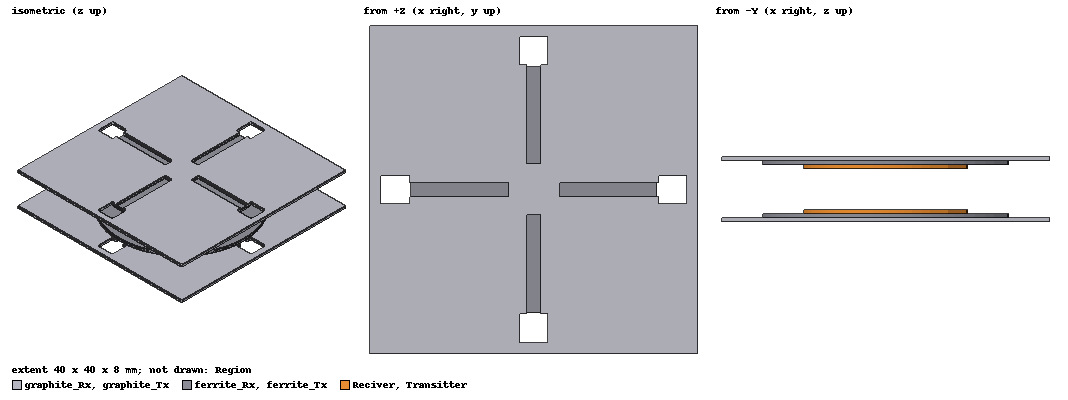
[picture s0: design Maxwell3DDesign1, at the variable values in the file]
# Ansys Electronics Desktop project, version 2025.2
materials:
  vacuum: permittivity=1
  aluminum: permeability=1.000021 conductivity=38000000
  copper: permeability=0.999991 conductivity=58000000
  ferrite: permittivity=12 permeability=1000 conductivity=0.01
  graphite: conductivity=70000

design Maxwell3DDesign1 (Maxwell 3D, AC Magnetic, model units mm)
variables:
  dist_offset = 2.5mm
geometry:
  Reciver [copper] = cylinder(axis=Z, base_centre=(0mm, 0mm, dist_offset), radius=10mm, height=0.5mm)
  Cylinder2 = cylinder(axis=Z, base_centre=(0mm, 0mm, dist_offset), radius=4mm, height=0.5mm)
  Reciver.subtract(Cylinder2)
  Cylinder1_Section1 = Reciver.section(plane=YZ)
  Cylinder1_Section1.separate_bodies()
  Cylinder1_Section1_1 = Cylinder1_Section1.duplicate_mirror(point=(0mm, 0mm, 0mm), normal=(0mm, 0mm, -1mm))
  ferrite_Rx [ferrite] = cylinder(axis=Z, base_centre=(0mm, 0mm, dist_offset + 0.5mm), radius=15mm, height=0.5mm)
  graphite_Rx [graphite] = box(corner=(-20mm, -20mm, dist_offset +1mm), size=(40mm, 40mm, 0.5mm))
  Region [vacuum] = region(percentage_offset=200 on all sides)
  Box1 = box(corner=(15.2mm, -1.75mm, 3.5mm), size=(3.5mm, 3.5mm, 0.5mm))
  graphite_Rx.subtract(Box1)
  Box2 = box(corner=(-18.6mm, -1.75mm, 3.5mm), size=(3.5mm, 3.5mm, 0.5mm))
  graphite_Rx.subtract(Box2)
  Box3 = box(corner=(-1.75mm, 15.2mm, 3.5mm), size=(3.5mm, 3.5mm, 0.5mm))
  graphite_Rx.subtract(Box3)
  Box4 = box(corner=(-1.75mm, -18.6mm, 3.5mm), size=(3.5mm, 3.5mm, 0.5mm))
  graphite_Rx.subtract(Box4)
  Box5 = box(corner=(15.2mm, (-1.75/2) mm, 3.5mm), size=(-12mm, 1.75mm, 0.5mm))
  Box6 = box(corner=(-15.1mm, (-1.75/2) mm, 3.5mm), size=(12mm, 1.75mm, 0.5mm))
  Box7 = box(corner=((-1.75/2) mm, 15.2mm, 3.5mm), size=(1.75mm, -12mm, 0.5mm))
  Box8 = box(corner=((-1.75/2) mm, -15.1mm, 3.5mm), size=(1.75mm, 12mm, 0.5mm))
  graphite_Rx.subtract(Box5..Box8)
  Transitter [copper] = Reciver.duplicate_mirror(point=(0mm, 0mm, 0mm), normal=(0mm, 0mm, -1mm))
  ferrite_Tx [ferrite] = ferrite_Rx.duplicate_mirror(point=(0mm, 0mm, 0mm), normal=(0mm, 0mm, -1mm))
  graphite_Tx [graphite] = graphite_Rx.duplicate_mirror(point=(0mm, 0mm, 0mm), normal=(0mm, 0mm, -1mm))
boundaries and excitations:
  CoilTerminal_1: Coil Terminal Objects=Cylinder1_Section1 Conductor_number=100 Winding=Winding1 Point_out_of_terminal=false
  CoilTerminal_2: Coil Terminal Objects=Cylinder1_Section1_1 Conductor_number=100 Winding=Winding2 Point_out_of_terminal=false
  Winding1: Winding Group Type=Current IsSolid=false Current=1A ParallelBranchesNum=1 Phase=0deg
  Winding2: Winding Group Type=Current IsSolid=false Current=1A ParallelBranchesNum=1 Phase=90deg
  eddy effects on: graphite_Rx
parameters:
  Matrix1: Matrix Winding1, Winding2:
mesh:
  Length1: LengthBased RefineInside Objects=[Reciver, ferrite_Rx, graphite_Rx, Cylinder1_Section1, Cylinder1_Section1_1] NumMaxElem=6000 MaxLength=1mm
  Length2: LengthBased RefineInside Objects=[Transitter, ferrite_Tx, graphite_Tx] NumMaxElem=6000 MaxLength=1mm
  initial mesh: GlobalCurvilinear{Apply}
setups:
  Setup1: AC Magnetic MaximumPasses=10 MinimumPasses=2 MinimumConvergedPasses=1 PercentRefinement=30 PercentError=1 NonLinearResidual=0.0001 Frequency=50kHz LossAdaptiveCtrl=0.5
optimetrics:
  ParametricSetup1: Parametric Sim._Setups=[Setup1]
    sweep dist_offset: LIN 1mm 5mm 0.5mm
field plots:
  Mag_B1: B over a plane on Setup1 : LastAdaptive at Freq=50kHz Phase=0deg
  Ohmic_Loss1: Ohmic-Loss over graphite_Rx on Setup1 : LastAdaptive at Freq=50kHz Phase=0deg
  Ohmic_Loss2: Ohmic-Loss in graphite_Tx on Setup1 : LastAdaptive at Freq=50kHz Phase=0deg
  Mag_B2: B in Region on Setup1 : LastAdaptive at Freq=50kHz Phase=0deg
  Vector_E1: E in Reciver, Transitter on Setup1 : LastAdaptive at Freq=50kHz Phase=0deg
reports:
  L Plot1: Matrix1.L(Winding1,Winding1), Matrix1.L(Winding2,Winding1) vs dist_offset on Setup1 : LastAdaptive [Freq=all]
  Winding Plot1: re(InducedVoltage(Winding1)), re(InducedVoltage(Winding2)) vs dist_offset on Setup1 : LastAdaptive [Freq=all]
  Loss Plot1: SolidLoss vs dist_offset on Setup1 : LastAdaptive [Freq=all]; markers m1 at 2.5mm
